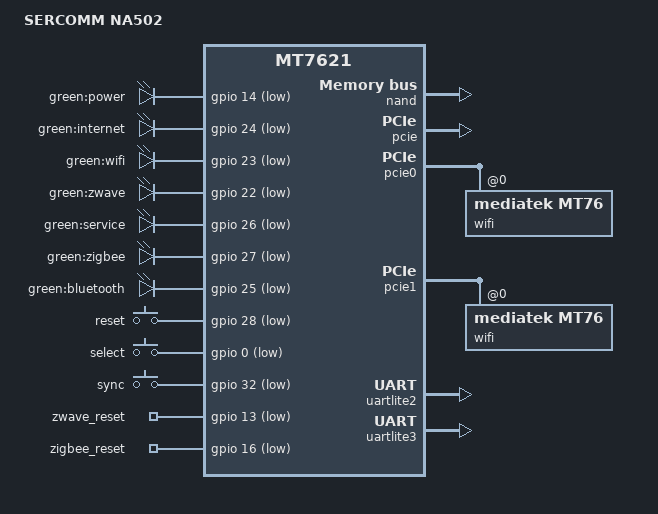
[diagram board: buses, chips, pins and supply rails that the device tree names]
// SPDX-License-Identifier: GPL-2.0-or-later

#include "mt7621.dtsi"

#include <dt-bindings/gpio/gpio.h>
#include <dt-bindings/input/input.h>

/ {
	compatible = "sercomm,na502", "mediatek,mt7621-soc";
	model = "SERCOMM NA502";

	aliases {
		led-boot = &led_power;
		led-failsafe = &led_power;
		led-running = &led_power;
		led-upgrade = &led_power;
	};

	leds {
		compatible = "gpio-leds";

		led_power: power {
			label = "green:power";
			gpios = <&gpio 14 GPIO_ACTIVE_LOW>;
		};

		internet {
			label = "green:internet";
			gpios = <&gpio 24 GPIO_ACTIVE_LOW>;
		};

		wifi {
			label = "green:wifi";
			gpios = <&gpio 23 GPIO_ACTIVE_LOW>;
			linux,default-trigger = "phy0tpt";
		};

		zwave {
			label = "green:zwave";
			gpios = <&gpio 22 GPIO_ACTIVE_LOW>;
		};

		service {
			label = "green:service";
			gpios = <&gpio 26 GPIO_ACTIVE_LOW>;
		};

		zigbee {
			label = "green:zigbee";
			gpios = <&gpio 27 GPIO_ACTIVE_LOW>;
		};

		bluetooth {
			label = "green:bluetooth";
			gpios = <&gpio 25 GPIO_ACTIVE_LOW>;
		};
	};

	keys {
		compatible = "gpio-keys";

		reset {
			label = "reset";
			gpios = <&gpio 28 GPIO_ACTIVE_LOW>;
			linux,code = <KEY_RESTART>;
		};

		select {
			label = "select";
			gpios = <&gpio 0 GPIO_ACTIVE_LOW>;
			linux,code = <BTN_0>;
		};

		sync {
			label = "sync";
			gpios = <&gpio 32 GPIO_ACTIVE_LOW>;
			linux,code = <KEY_RFKILL>;
		};
	};

	gpio-export {
		compatible = "gpio-export";

		zwave_reset {
			gpio-export,name = "zwave_reset";
			gpio-export,output = <1>;
			gpios = <&gpio 13 GPIO_ACTIVE_LOW>;
		};

		zigbee_reset {
			gpio-export,name = "zigbee_reset";
			gpio-export,output = <1>;
			gpios = <&gpio 16 GPIO_ACTIVE_LOW>;
		};
	};
};

&ethernet {
	pinctrl-0 = <&mdio_pins>, <&rgmii1_pins>;
};

&gmac0 {
	nvmem-cells = <&macaddr_factory_e000>;
	nvmem-cell-names = "mac-address";
};

&nand {
	status = "okay";

	partitions {
		compatible = "fixed-partitions";
		#address-cells = <1>;
		#size-cells = <1>;

		partition@0 {
			label = "u-boot";
			reg = <0x0 0x80000>;
			read-only;
		};

		partition@80000 {
			label = "config";
			reg = <0x80000 0x80000>;
			read-only;
		};

		factory: partition@100000 {
			label = "factory";
			reg = <0x100000 0x40000>;
		};

		partition@140000 {
			label = "kernel1";
			reg = <0x140000 0x1400000>;
		};

		partition@1540000 {
			label = "kernel";
			reg = <0x1540000 0x400000>;
		};

		partition@1940000 {
			label = "ubi";
			reg = <0x1940000 0x1000000>;
		};

		partition@2940000 {
			label = "user_storage";
			reg = <0x2940000 0x100000>;
		};

		partition@2a40000 {
			label = "data";
			reg = <0x2a40000 0x1000000>;
		};

		partition@3a40000 {
			label = "storage";
			reg = <0x3a40000 0x3200000>;
		};

		partition@6c40000 {
			label = "backup";
			reg = <0x6c40000 0x1340000>;
		};
	};
};

&pcie {
	status = "okay";
};

&pcie0 {
	wifi@0,0 {
		compatible = "mediatek,mt76";
		reg = <0x0000 0 0 0 0>;
		mediatek,mtd-eeprom = <&factory 0x8000>;
		nvmem-cells = <&macaddr_factory_e000>;
		nvmem-cell-names = "mac-address";
		mac-address-increment = <1>;
		ieee80211-freq-limit = <5000000 6000000>;
	};
};

&pcie1 {
	wifi@0,0 {
		compatible = "mediatek,mt76";
		reg = <0x0 0 0 0 0>;
		mediatek,mtd-eeprom = <&factory 0x0000>;
		nvmem-cells = <&macaddr_factory_e000>;
		nvmem-cell-names = "mac-address";
		mac-address-increment = <2>;
		ieee80211-freq-limit = <2400000 2500000>;
	};
};

&state_default {
	gpio {
		groups = "jtag", "rgmii2";
		function = "gpio";
	};
};

&switch0 {
	ports {
		port@4 {
			status = "okay";
			label = "lan";
		};
	};
};

&uartlite2 {
	status = "okay";
};

&uartlite3 {
	status = "okay";
};

&factory {
	compatible = "nvmem-cells";
	#address-cells = <1>;
	#size-cells = <1>;

	macaddr_factory_e000: macaddr@e000 {
		reg = <0xe000 0x6>;
	};
};
